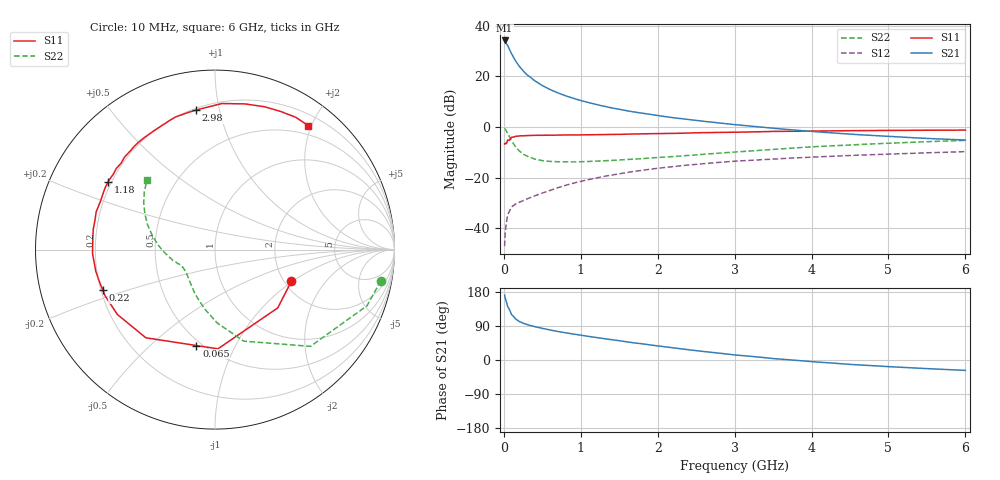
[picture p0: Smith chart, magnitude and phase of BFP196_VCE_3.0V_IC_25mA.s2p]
! Infineon Technologies  Discrete & RF Semiconductors
! BFP196
! VCE = 3.0 V,  IC =  25mA
! Common Emitter S-Parameters:  Jan 2016
# GHz  S  MA  R  50
!  f  S11  S21  S12  S22
! GHz  MAG  ANG  MAG  ANG  MAG  ANG  MAG  ANG
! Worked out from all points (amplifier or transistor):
!   210 points, 10 MHz to 6 GHz, reference 50 ohm
!   highest |S21| = 34.2 dB at 10 MHz (marker M1)
!   |S21| within 3 dB of that: start of sweep to 65.79 MHz
!   unconditionally stable (mu >= 1): 593 MHz to 3.468 GHz; 3.572 GHz to 3.937 GHz
!   at 185 MHz: K = 0.54, MSG = 27.3 dB, |S12| = -30.0 dB
!   at 1.52 GHz: K = 1.11, MAG = 10.7 dB, |S12| = -18.4 dB
!   at 6 GHz: K = 0.97, MSG = 2.3 dB, |S12| = -9.8 dB
!   S11 on the Smith chart (normalised r, x): 10 MHz: 2.18, -0.98; 65 MHz: 0.47, -0.71; 220 MHz: 0.21, -0.17; 1.18 GHz: 0.19, +0.28; 2.98 GHz: 0.21, +0.85; 6 GHz: 0.36, +1.95
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0.01  0.4608 -22.6  51.07 171.4  0.0044 83.5  0.9406 -10.6
0.02  0.4772 -42.9  48.55 161.8  0.0088 74.8  0.9028 -20.3
0.05  0.5531 -88.3  40.62 140.8  0.0183 59.4  0.7573 -45.4
0.065  0.5445 -101.0  36.37 136.1  0.0205 54.6  0.6767 -51.6
0.1  0.6244 -128.1  27.9 119.8  0.0261 46.7  0.5346 -72.6
0.15  0.653 -146.4  20.26 108.6  0.0297 43.3  0.4075 -88.5
0.2  0.6639 -156.9  15.79 101.6  0.0324 43.4  0.3358 -99.8
0.22  0.6644 -160.0  14.58 100.0  0.0334 43.7  0.3167 -103.2
0.26  0.6696 -165.7  12.37 96.3  0.0355 44.5  0.2851 -110.3
0.3  0.6752 -169.9  10.76 93.3  0.0376 45.8  0.2653 -115.5
0.4  0.6828 -178.2  8.174 87.9  0.0433 48.6  0.2322 -126.1
0.5  0.6828 176.4  6.544 83.4  0.0493 52.0  0.2159 -133.5
0.7  0.6883 166.3  4.715 75.2  0.0628 54.9  0.2049 -143.0
1.02  0.6975 153.3  3.256 64.8  0.0854 55.3  0.2053 -151.7
1.18  0.7051 147.9  2.824 59.9  0.0964 55.0  0.2101 -155.0
1.6  0.721 134.4  2.081 47.8  0.1257 51.2  0.227 -161.5
2.02  0.7381 122.1  1.657 36.7  0.1534 46.6  0.2492 -168.3
2.98  0.7846 97.7  1.119 13.9  0.209 34.3  0.3172 175.5
3.1  0.7895 95.2  1.074 11.7  0.2143 32.6  0.3265 173.4
4.1  0.8303 76.9  0.793 -5.8  0.2566 20.7  0.4111 157.7
5.1  0.8538 63.3  0.637 -18.5  0.2939 9.6  0.4825 145.3
6  0.8645 53.1  0.55 -27.4  0.3244 -0.5  0.5413 134.4
